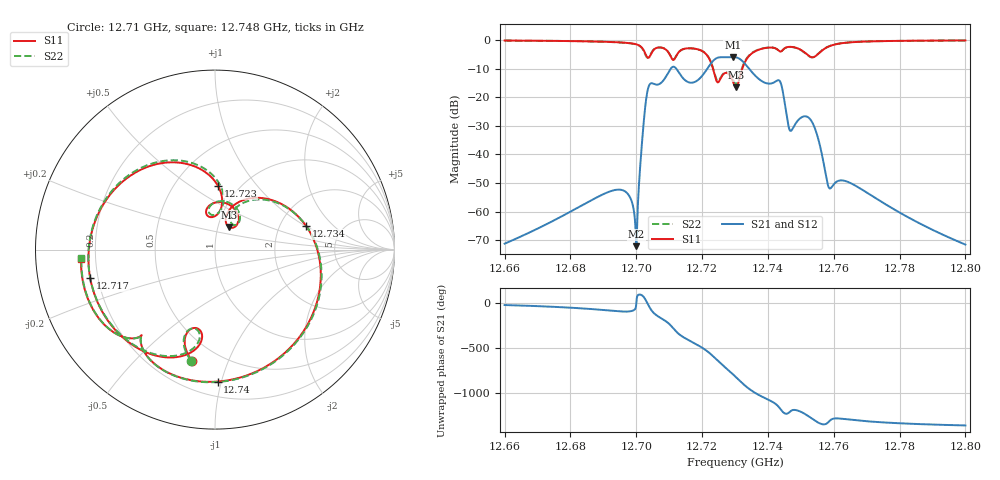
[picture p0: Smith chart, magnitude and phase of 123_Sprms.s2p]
! TOUCHSTONE file generated by CST MICROWAVE STUDIO
! Date and time: Wed Jul 31 16:59:54 2024
! Project name: WaveGuide_BPF-Ver4.1_U-shape_Ku_T3_C4_CWA_2.cst
! Parameters = {cavity_h=16; cavity_l0=10; cavity_l1=15.2193; cavity_l2=16.8415; cavity_l3=17.0829; cavity_l4=17.3085; cavity_l5=17.1508; cavity_l6=17.6099; cavity_r=2.5; cavity_screw_l=0.5; cavity_screw_r=1.5; cavity_w=8; iris_h00=0; iris_h01=8.8205; iris_h112=0; iris_h12=5.5876; iris_h211=3.6678; 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
! Header version: 2018
! Port assignment regex: !\s*Touchstone port\s*([0-9]+)\s*=\s*(CST MWS port|CST DS port)\s*([0-9]+|Zmin|Zmax)\s*\(\"(.*)\"\)(\s*mode\s*([0-9]+))?.*
! Touchstone port assignment:
! Touchstone port 1 = CST MWS port 1 ("")
! Touchstone port 2 = CST MWS port 2 ("")
# GHz S RI R 50
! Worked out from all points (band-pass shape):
!   5001 points, 12.66 GHz to 12.8 GHz, reference 50 ohm
!   highest |S21| = -5.96 dB at 12.729 GHz (marker M1); lowest = -72.1 dB at 12.7 GHz (marker M2)
!   |S21| within 3 dB of the highest: 12.72222 GHz to 12.73351 GHz (11.3 MHz wide, 0.0888 % of centre)
!   lowest |S11| = -16.6 dB at 12.73 GHz (marker M3), VSWR 1.35, Z = 56.4 + j14.5 ohm
!   |S11| at or under -10 dB: 12.72331 GHz to 12.73221 GHz (8.901 MHz wide, 0.0699 % of centre)
!   |S22| runs from -15.3 to -0.2 dB; largest |S21 - S12| = 1e-09
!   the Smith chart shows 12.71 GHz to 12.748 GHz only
!   S11 on the Smith chart (normalised r, x): 12.71 GHz: 0.36, -0.75; 12.717 GHz: 0.17, -0.11; 12.723 GHz: 0.80, +0.65; 12.734 GHz: 2.78, +1.02; 12.74 GHz: 0.30, -0.97; 12.748 GHz: 0.14, -0.03
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12.66  0.3889 0.8981  0.000243 -0.000126  0.000243 -0.000126  0.3913 0.8972
12.68335  0.8178 0.4876  0.000548 -0.00114  0.000548 -0.00114  0.8184 0.4869
12.69564  0.8878 -0.1689  -0.000376 -0.00235  -0.000376 -0.00235  0.887 -0.1706
12.70004  0.6605 -0.517  0.000247 2.01e-05  0.000247 2.01e-05  0.6532 -0.5199
12.70318  0.2788 -0.4345  0.107 0.0136  0.107 0.0136  0.2898 -0.4091
12.70668  0.3126 -0.6699  -0.1508 -0.0713  -0.1508 -0.0713  0.3079 -0.6737
12.70956  -0.1266 -0.6187  -0.1879 0.1775  -0.1879 0.1775  -0.1322 -0.6187
12.71253  -0.1164 -0.5613  0.2693 0.1183  0.2693 0.1183  -0.1329 -0.5593
12.71706  -0.695 -0.1601  0.0307 -0.1769  0.0307 -0.1769  -0.6995 -0.1336
12.72306  0.0179 0.3528  -0.2835 0.3011  -0.2835 0.3011  0.0286 0.3592
12.72658  -0.016 0.2555  0.4872 0.1118  0.4872 0.1118  -0.000703 0.2628
12.72933  0.1246 0.1435  0.1281 -0.4869  0.1281 -0.4869  0.1348 0.1551
12.73  0.095 0.1211  -0.0711 -0.4959  -0.0711 -0.4959  0.1101 0.1364
12.73034  0.0775 0.1259  -0.1688 -0.4675  -0.1688 -0.4675  0.0962 0.1418
12.73423  0.5064 0.1329  -0.173 0.2664  -0.173 0.2664  0.5233 0.1102
12.74  0.014 -0.7352  0.173 0.0081  0.173 0.0081  0.0139 -0.7378
12.74361  -0.4108 -0.4799  -0.0121 -0.191  -0.0121 -0.191  -0.4106 -0.4828
12.74786  -0.746 -0.0497  -0.0116 -0.0282  -0.0116 -0.0282  -0.7438 -0.0451
12.75335  0.3313 0.3727  -0.0326 0.0181  -0.0326 0.0181  0.3487 0.3544
12.75934  -0.0697 -0.8016  -0.00212 0.00161  -0.00212 0.00161  -0.0806 -0.8035
12.77668  -0.9451 -0.1735  -0.000326 0.0012  -0.000326 0.0012  -0.9457 -0.1701
12.8  -0.9319 0.3107  6.94e-05 0.000255  6.94e-05 0.000255  -0.9306 0.3145
